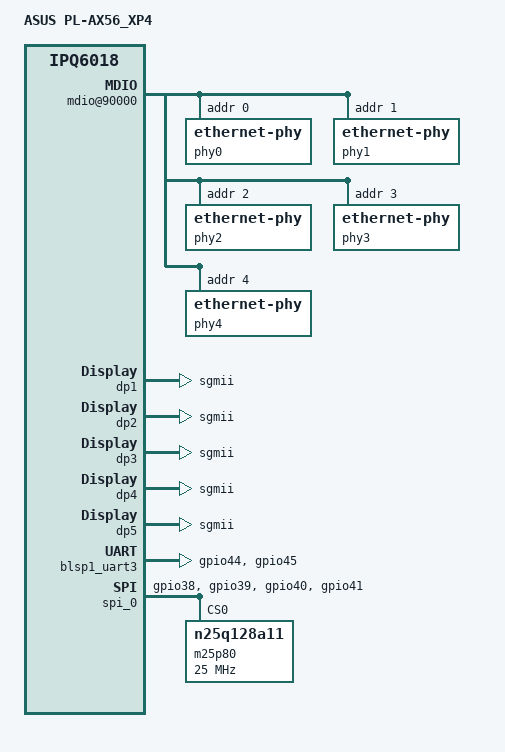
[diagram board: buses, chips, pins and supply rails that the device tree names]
/*
 * Copyright (c) 2019, The Linux Foundation. All rights reserved.
 *
 * Permission to use, copy, modify, and/or distribute this software for any
 * purpose with or without fee is hereby granted, provided that the above
 * copyright notice and this permission notice appear in all copies.
 *
 * THE SOFTWARE IS PROVIDED "AS IS" AND THE AUTHOR DISCLAIMS ALL WARRANTIES
 * WITH REGARD TO THIS SOFTWARE INCLUDING ALL IMPLIED WARRANTIES OF
 * MERCHANTABILITY AND FITNESS. IN NO EVENT SHALL THE AUTHOR BE LIABLE FOR
 * ANY SPECIAL, DIRECT, INDIRECT, OR CONSEQUENTIAL DAMAGES OR ANY DAMAGES
 * WHATSOEVER RESULTING FROM LOSS OF USE, DATA OR PROFITS, WHETHER IN AN
 * ACTION OF CONTRACT, NEGLIGENCE OR OTHER TORTIOUS ACTION, ARISING OUT OF
 * OR IN CONNECTION WITH THE USE OR PERFORMANCE OF THIS SOFTWARE.
 */

#include "../../../arm64/boot/dts/qcom/qcom-ipq6018-cp03-c1.dts"
#include "qcom-ipq6018.dtsi"

/ {
	#address-cells = <0x2>;
	#size-cells = <0x2>;
	model = "ASUS PL-AX56_XP4";
	compatible = "qcom,ipq6018-cp03", "qcom,ipq6018";
	interrupt-parent = <&intc>;
        qcom,msm-id = <0x192 0x0>;

	aliases {
                serial0 = &blsp1_uart3;
		/*
		 * Aliases as required by u-boot
		 * to patch MAC addresses
		 */
		ethernet0 = "/soc/dp1";
		ethernet1 = "/soc/dp2";
                ethernet2 = "/soc/dp3";
                ethernet3 = "/soc/dp4";
                ethernet4 = "/soc/dp5";
	};

	chosen {
		bootargs-override = "console=ttyMSM0,115200,n8 swiotlb=1 coherent_pool=2M ubi.mtd=rootfs root=/dev/ubiblock0_1 rootfstype=squashfs ";
	};

};

&tlmm {
 	uart_pins: uart_pins {
		mux {
			pins = "gpio44", "gpio45";
			function = "blsp2_uart";
			drive-strength = <8>;
			bias-pull-down;
		};
	};

	spi_0_pins: spi_0_pins {
		mux {
			pins = "gpio38", "gpio39", "gpio40", "gpio41";
			function = "blsp0_spi";
			drive-strength = <8>;
			bias-pull-down;
		};
	};

	button_pins: button_pins {

		reset_button {
			pins = "gpio19";
			function = "gpio";
			drive-strength = <8>;
			bias-pull-up;
		};
	};

};

&soc {
	mdio@90000 {
		pinctrl-0 = <&mdio_pins>;
		pinctrl-names = "default";
		phy-reset-gpio = <&tlmm 75 0 &tlmm 77 1>;
		status = "ok";
		phy0: ethernet-phy@0 {
			reg = <0>;
		};
		phy1: ethernet-phy@1 {
			reg = <1>;
		};
                phy2: ethernet-phy@2 {
                        reg = <2>;
                };
                phy3: ethernet-phy@3 {
                        reg = <3>;
                };
                phy4: ethernet-phy@4 {
                        reg = <4>;
                };
	};

	ess-switch@3a000000 {
		switch_cpu_bmp = <0x1>;  /* cpu port bitmap */
		switch_lan_bmp = <0x1e>; /* lan port bitmap */
		switch_wan_bmp = <0x20>; /* wan port bitmap */
		switch_inner_bmp = <0xc0>; /*inner port bitmap*/
		switch_mac_mode = <0x0>; /* mac mode for uniphy instance0*/
		switch_mac_mode1 = <0xff>; /* mac mode for uniphy instance1*/
		switch_mac_mode2 = <0xff>; /* mac mode for uniphy instance2*/
		qcom,port_phyinfo {
                        port@0 {
                                port_id = <1>;
                                phy_address = <0>;
                        };
                        port@1 {
                                port_id = <2>;
                                phy_address = <1>;
                        };
                        port@2 {
                                port_id = <3>;
                                phy_address = <2>;
                        };
			port@3 {
				port_id = <4>;
				phy_address = <3>;
			};
			port@4 {
				port_id = <5>;
				phy_address = <4>;
			};
		};
	};

	dp1 {
		device_type = "network";
		compatible = "qcom,nss-dp";
		qcom,id = <1>;
		reg = <0x3a001000 0x200>;
		qcom,mactype = <0>;
		local-mac-address = [000000000000];
		qcom,link-poll = <1>;
		qcom,phy-mdio-addr = <0>;
		phy-mode = "sgmii";
	};

	dp2 {
		device_type = "network";
		compatible = "qcom,nss-dp";
		qcom,id = <2>;
		reg = <0x3a001200 0x200>;
		qcom,mactype = <0>;
		local-mac-address = [000000000000];
		qcom,link-poll = <1>;
		qcom,phy-mdio-addr = <1>;
		phy-mode = "sgmii";
	};

        dp3 {
                device_type = "network";
                compatible = "qcom,nss-dp";
                qcom,id = <3>;
                reg = <0x3a001400 0x200>;
                qcom,mactype = <0>;
                local-mac-address = [000000000000];
                qcom,link-poll = <1>;
                qcom,phy-mdio-addr = <2>;
                phy-mode = "sgmii";
        };

        dp4 {
                device_type = "network";
                compatible = "qcom,nss-dp";
                qcom,id = <4>;
                reg = <0x3a001600 0x200>;
                qcom,mactype = <0>;
                local-mac-address = [000000000000];
                qcom,link-poll = <1>;
                qcom,phy-mdio-addr = <3>;
                phy-mode = "sgmii";
        };

        dp5 {
                device_type = "network";
                compatible = "qcom,nss-dp";
                qcom,id = <5>;
                reg = <0x3a001800 0x200>;
                qcom,mactype = <0>;
                local-mac-address = [000000000000];
                qcom,link-poll = <1>;
                qcom,phy-mdio-addr = <4>;
                phy-mode = "sgmii";
        };

	leds {
	        status = "disabled";
	};


		nss@40000000 {
			qcom,max-frequency = <0x64b54000>;
		};




	serial@78b0000 {
	        status = "disabled";
	};

	blsp1_uart2: serial@78b0000 {
	        status = "disabled";
	};
};

&cpus {
		opp_table0 {

			opp04 {
				opp-hz = <0x0 0x55d4a800>;
				opp-microvolt = <0x4>;
				clock-latency-ns = <0x30d40>;
			};

			opp05 {
				opp-hz = <0x0 0x5fd82200>;
				opp-microvolt = <0x5>;
				clock-latency-ns = <0x30d40>;
			};

			opp06 {
				opp-hz = <0x0 0x6b49d200>;
				opp-microvolt = <0x6>;
				clock-latency-ns = <0x30d40>;
			};
		};
	};

&blsp1_uart3 {
	pinctrl-0 = <&uart_pins>;
	pinctrl-names = "default";
	status = "ok";
};

&spi_0 {
	pinctrl-0 = <&spi_0_pins>;
	pinctrl-names = "default";
	cs-select = <0>;
	status = "ok";

	m25p80@0 {
		#address-cells = <1>;
		#size-cells = <1>;
		reg = <0>;
		compatible = "n25q128a11";
		linux,modalias = "m25p80", "n25q128a11";
		spi-max-frequency = <25000000>;
		use-default-sizes;

	};
};

